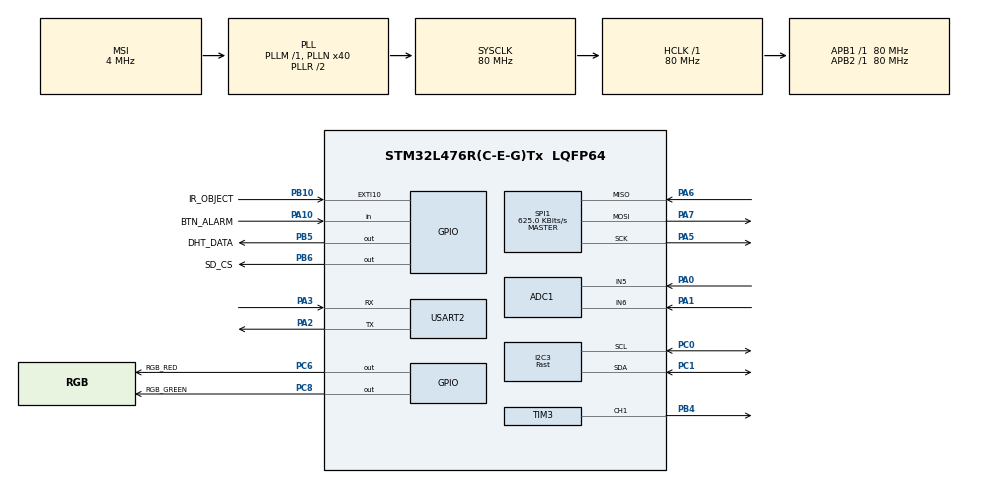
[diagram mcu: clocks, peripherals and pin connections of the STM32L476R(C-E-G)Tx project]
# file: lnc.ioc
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ADC1.Channel-0\#ChannelRegularConversion=ADC_CHANNEL_5
ADC1.NbrOfConversionFlag=1
ADC1.OffsetNumber-0\#ChannelRegularConversion=ADC_OFFSET_NONE
ADC1.Rank-0\#ChannelRegularConversion=1
ADC1.SamplingTime-0\#ChannelRegularConversion=ADC_SAMPLETIME_2CYCLES_5
ADC1.master=1
FATFS._FS_NORTC=1
FREERTOS.Tasks01=defaultTask,24,128,StartDefaultTask,Default,NULL,Dynamic,NULL,NULL
I2C3.CustomTiming=Enabled
I2C3.I2C_Speed_Mode=I2C_Fast
I2C3.Timing=0x00F12981
IWDG.Prescaler=IWDG_PRESCALER_32
IWDG.Window=1999
Mcu.Family=STM32L4
Mcu.Name=STM32L476R(C-E-G)Tx
Mcu.Package=LQFP64
NVIC.EXTI15_10_IRQn=true\:5\:0\:false\:false\:true\:true\:true\:true\:true
NVIC.PriorityGroup=NVIC_PRIORITYGROUP_4
NVIC.TIM6_DAC_IRQn=true\:15\:0\:false\:false\:true\:false\:false\:true\:true
NVIC.TimeBase=TIM6_DAC_IRQn
NVIC.TimeBaseIP=TIM6
PA0.Signal=ADCx_IN5
PA1.Signal=ADCx_IN6
PA10.GPIO_Label=BTN_ALARM
PA10.GPIO_PuPd=GPIO_PULLUP
PA10.Signal=GPIO_Input
PA2.Mode=Asynchronous
PA2.Signal=USART2_TX
PA3.Mode=Asynchronous
PA3.Signal=USART2_RX
PA5.Mode=Full_Duplex_Master
PA5.Signal=SPI1_SCK
PA6.GPIO_PuPd=GPIO_PULLUP
PA6.Mode=Full_Duplex_Master
PA6.Signal=SPI1_MISO
PA7.Mode=Full_Duplex_Master
PA7.Signal=SPI1_MOSI
PB10.GPIO_Label=IR_OBJECT
PB10.GPIO_ModeDefaultEXTI=GPIO_MODE_IT_FALLING
PB10.GPIO_PuPd=GPIO_PULLUP
PB10.Signal=GPXTI10
PB4\ (NJTRST).Signal=S_TIM3_CH1
PB5.GPIO_Label=DHT_DATA
PB5.Signal=GPIO_Output
PB6.GPIO_Label=SD_CS
PB6.PinState=GPIO_PIN_SET
PB6.Signal=GPIO_Output
PC0.Mode=I2C
PC0.Signal=I2C3_SCL
PC1.Mode=I2C
PC1.Signal=I2C3_SDA
PC14-OSC32_IN\ (PC14).Mode=LSE-External-Oscillator
PC14-OSC32_IN\ (PC14).Signal=RCC_OSC32_IN
PC15-OSC32_OUT\ (PC15).Mode=LSE-External-Oscillator
PC15-OSC32_OUT\ (PC15).Signal=RCC_OSC32_OUT
PC6.GPIO_Label=RGB_RED
PC6.Signal=GPIO_Output
PC8.GPIO_Label=RGB_GREEN
PC8.Signal=GPIO_Output
ProjectManager.HeapSize=0x200
ProjectManager.StackSize=0x400
ProjectManager.TargetToolchain=CMake
RCC.ADCFreq_Value=32000000
RCC.AHBFreq_Value=80000000
RCC.APB1Freq_Value=80000000
RCC.APB1TimFreq_Value=80000000
RCC.APB2Freq_Value=80000000
RCC.APB2TimFreq_Value=80000000
RCC.CortexFreq_Value=80000000
RCC.HCLKFreq_Value=80000000
RCC.HSE_VALUE=8000000
RCC.HSI_VALUE=16000000
RCC.MSI_VALUE=4000000
RCC.PLLN=40
RCC.PLLSAI1N=16
RCC.SYSCLKFreq_VALUE=80000000
RCC.SYSCLKSource=RCC_SYSCLKSOURCE_PLLCLK
RCC.USBFreq_Value=32000000
RCC.VCOOutputFreq_Value=160000000
SH.ADCx_IN5.0=ADC1_IN5,IN5-Single-Ended
SH.ADCx_IN6.0=ADC1_IN6,IN6-Single-Ended
SH.S_TIM3_CH1.0=TIM3_CH1,PWM Generation1 CH1
SPI1.BaudRatePrescaler=SPI_BAUDRATEPRESCALER_128
SPI1.CalculateBaudRate=625.0 KBits/s
SPI1.DataSize=SPI_DATASIZE_8BIT
SPI1.Direction=SPI_DIRECTION_2LINES
SPI1.Mode=SPI_MODE_MASTER
SPI1.VirtualType=VM_MASTER
TIM3.AutoReloadPreload=TIM_AUTORELOAD_PRELOAD_ENABLE
TIM3.Channel-PWM\ Generation1\ CH1=TIM_CHANNEL_1
TIM3.Period=39999
TIM3.Pulse-PWM\ Generation1\ CH1=20000
USART2.VirtualMode-Asynchronous=VM_ASYNC
VP_FATFS_VS_Generic.Mode=User_defined
VP_FREERTOS_VS_CMSIS_V2.Mode=CMSIS_V2
VP_IWDG_VS_IWDG.Mode=IWDG_Activate
VP_RTC_VS_RTC_Activate.Mode=RTC_Enabled
VP_RTC_VS_RTC_Calendar.Mode=RTC_Calendar
VP_SYS_VS_tim6.Mode=TIM6
VP_TIM3_VS_ClockSourceINT.Mode=Internal
board=custom

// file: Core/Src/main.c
/* USER CODE BEGIN Header */
/**
  ******************************************************************************
  * @file           : main.c
  * @brief          : Main program body
  ******************************************************************************
  * @attention
  *
  * Copyright (c) 2026 STMicroelectronics.
  * All rights reserved.
  *
  * This software is licensed under terms that can be found in the LICENSE file
  * in the root directory of this software component.
  * If no LICENSE file comes with this software, it is provided AS-IS.
  *
  ******************************************************************************
  */
/* USER CODE END Header */
#include "main.h"
#include "cmsis_os.h"
#include "adc.h"
#include "fatfs.h"
#include "i2c.h"
#include "iwdg.h"
#include "rtc.h"
#include "spi.h"
#include "tim.h"
#include "usart.h"
#include "gpio.h"

/* USER CODE BEGIN Includes */
#include "test_bench.h"
#include "rgb_led.h"
#include "buzzer.h"
#include "dht11.h"
#include "adc_sensors.h"
#include "ir_receiver.h"
#include "button.h"
#include "monitor.h"
#include "config.h"
#include "log.h"
#include <stdio.h>
/* USER CODE END Includes */

void SystemClock_Config(void);
void MX_FREERTOS_Init(void);

int main(void)
{

  /* MCU Configuration--------------------------------------------------------*/

  /* Reset of all peripherals, Initializes the Flash interface and the Systick. */
  HAL_Init();

  /* Configure the system clock */
  SystemClock_Config();

  /* Initialize all configured peripherals */
  MX_GPIO_Init();
  MX_USART2_UART_Init();
  MX_ADC1_Init();
  MX_TIM3_Init();
  MX_I2C3_Init();
  MX_RTC_Init();
  MX_SPI1_Init();
  MX_FATFS_Init();
  /* USER CODE BEGIN 2 */
  TestBench_Init();
  RgbLed_Init();
  Buzzer_Init();
  Dht11_Init();
  Adc_Init();
  Ir_Init();
  Button_Init();
  Config_Init();
/* USER CODE END 2 */
Config_Init();

/* Mount SD card */
{
    FRESULT fr;
    HAL_Delay(500U);
    fr = f_mount(&USERFatFS, USERPath, 1U);
    printf("[LOG] SD mount: fr=%d\r\n", (int)fr);
}
/* USER CODE END 2 */
  /* Init scheduler */
  osKernelInitialize();  /* Call init function for freertos objects (in cmsis_os2.c) */
  MX_FREERTOS_Init();
  /* Start scheduler */
  osKernelStart();

  /* We should never get here as control is now taken by the scheduler */

  /* Infinite loop */
  while (1)
  {

  }
}

void SystemClock_Config(void)
{
  RCC_OscInitTypeDef RCC_OscInitStruct = {0};
  RCC_ClkInitTypeDef RCC_ClkInitStruct = {0};

  /** Configure the main internal regulator output voltage
  */
  if (HAL_PWREx_ControlVoltageScaling(PWR_REGULATOR_VOLTAGE_SCALE1) != HAL_OK)
  {
    Error_Handler();
  }

  /** Configure LSE Drive Capability
  */
  HAL_PWR_EnableBkUpAccess();
  __HAL_RCC_LSEDRIVE_CONFIG(RCC_LSEDRIVE_LOW);

  /** Initializes the RCC Oscillators according to the specified parameters
  * in the RCC_OscInitTypeDef structure.
  */
  RCC_OscInitStruct.OscillatorType = RCC_OSCILLATORTYPE_LSI|RCC_OSCILLATORTYPE_LSE
                              |RCC_OSCILLATORTYPE_MSI;
  RCC_OscInitStruct.LSEState = RCC_LSE_ON;
  RCC_OscInitStruct.LSIState = RCC_LSI_ON;
  RCC_OscInitStruct.MSIState = RCC_MSI_ON;
  RCC_OscInitStruct.MSICalibrationValue = 0;
  RCC_OscInitStruct.MSIClockRange = RCC_MSIRANGE_6;
  RCC_OscInitStruct.PLL.PLLState = RCC_PLL_ON;
  RCC_OscInitStruct.PLL.PLLSource = RCC_PLLSOURCE_MSI;
  RCC_OscInitStruct.PLL.PLLM = 1;
  RCC_OscInitStruct.PLL.PLLN = 40;
  RCC_OscInitStruct.PLL.PLLP = RCC_PLLP_DIV7;
  RCC_OscInitStruct.PLL.PLLQ = RCC_PLLQ_DIV2;
  RCC_OscInitStruct.PLL.PLLR = RCC_PLLR_DIV2;
  if (HAL_RCC_OscConfig(&RCC_OscInitStruct) != HAL_OK)
  {
    Error_Handler();
  }

  /** Initializes the CPU, AHB and APB buses clocks
  */
  RCC_ClkInitStruct.ClockType = RCC_CLOCKTYPE_HCLK|RCC_CLOCKTYPE_SYSCLK
                              |RCC_CLOCKTYPE_PCLK1|RCC_CLOCKTYPE_PCLK2;
  RCC_ClkInitStruct.SYSCLKSource = RCC_SYSCLKSOURCE_PLLCLK;
  RCC_ClkInitStruct.AHBCLKDivider = RCC_SYSCLK_DIV1;
  RCC_ClkInitStruct.APB1CLKDivider = RCC_HCLK_DIV1;
  RCC_ClkInitStruct.APB2CLKDivider = RCC_HCLK_DIV1;

  if (HAL_RCC_ClockConfig(&RCC_ClkInitStruct, FLASH_LATENCY_4) != HAL_OK)
  {
    Error_Handler();
  }

  /** Enable MSI Auto calibration
  */
  HAL_RCCEx_EnableMSIPLLMode();
}

void HAL_TIM_PeriodElapsedCallback(TIM_HandleTypeDef *htim)
{
  if (htim->Instance == TIM6)
  {
    HAL_IncTick();
  }
}

void Error_Handler(void)
{
  __disable_irq();
  while (1)
  {
  }
}

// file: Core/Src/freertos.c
/* USER CODE BEGIN Header */
/**
  ******************************************************************************
  * File Name          : freertos.c
  * Description        : Code for freertos applications
  ******************************************************************************
  * @attention
  *
  * Copyright (c) 2026 STMicroelectronics.
  * All rights reserved.
  *
  * This software is licensed under terms that can be found in the LICENSE file
  * in the root directory of this software component.
  * If no LICENSE file comes with this software, it is provided AS-IS.
  *
  ******************************************************************************
  */
/* USER CODE END Header */

#include "FreeRTOS.h"
#include "task.h"
#include "main.h"
#include "cmsis_os.h"

/* USER CODE BEGIN Includes */
#include "monitor.h"
#include "events.h"
#include "keep_alive.h"
#include "watchdog.h"
#include "comm.h"
#include "log.h"
#include "fatfs.h"
#include "init.h"
#include <stdio.h>
/* USER CODE END Includes */

/* USER CODE BEGIN Variables */
osThreadId_t monitorTaskHandle;
osThreadId_t eventTaskHandle;
osThreadId_t keepAliveTaskHandle;
osThreadId_t watchdogTaskHandle;
osThreadId_t commTaskHandle;
osThreadId_t logTaskHandle;
osThreadId_t initTaskHandle;

const osThreadAttr_t monitorTask_attributes = {
    .name       = "monitorTask",
    .stack_size = 512 * 4,
    .priority   = (osPriority_t)osPriorityNormal
};

const osThreadAttr_t eventTask_attributes = {
    .name       = "eventTask",
    .stack_size = 512 * 4,
    .priority   = (osPriority_t)osPriorityNormal
};

const osThreadAttr_t keepAliveTask_attributes = {
    .name       = "keepAliveTask",
    .stack_size = 256 * 4,
    .priority   = (osPriority_t)osPriorityNormal
};

const osThreadAttr_t watchdogTask_attributes = {
    .name       = "watchdogTask",
    .stack_size = 256 * 4,
    .priority   = (osPriority_t)osPriorityNormal
};
const osThreadAttr_t commTask_attributes = {
    .name       = "commTask",
    .stack_size = 512 * 4,
    .priority   = (osPriority_t)osPriorityAboveNormal
};
const osThreadAttr_t logTask_attributes = {
    .name       = "logTask",
    .stack_size = 1024 * 4,
    .priority   = (osPriority_t)osPriorityNormal
};
const osThreadAttr_t initTask_attributes = {
    .name       = "initTask",
    .stack_size = 256 * 4,
    .priority   = (osPriority_t)osPriorityAboveNormal
};
/* USER CODE END Variables */
/* Definitions for defaultTask */
osThreadId_t defaultTaskHandle;
const osThreadAttr_t defaultTask_attributes = {
  .name = "defaultTask",
  .stack_size = 128 * 4,
  .priority = (osPriority_t) osPriorityNormal,
};

void StartDefaultTask(void *argument);

void MX_FREERTOS_Init(void); /* (MISRA C 2004 rule 8.1) */

void MX_FREERTOS_Init(void) {
  /* USER CODE BEGIN Init */
    Log_Init();
    Event_Init();
    Init_Init();
    KeepAlive_Init();
    Monitor_Init();
    Comm_Init();

  /* USER CODE END Init */

  /* Create the thread(s) */
  /* creation of defaultTask */
  defaultTaskHandle = osThreadNew(StartDefaultTask, NULL, &defaultTask_attributes);

  /* USER CODE BEGIN RTOS_THREADS */
    monitorTaskHandle   = osThreadNew(Monitor_Task,   NULL, &monitorTask_attributes);
    eventTaskHandle     = osThreadNew(Event_Task,     NULL, &eventTask_attributes);
    keepAliveTaskHandle = osThreadNew(KeepAlive_Task, NULL, &keepAliveTask_attributes);
    watchdogTaskHandle  = osThreadNew(Watchdog_Task,  NULL, &watchdogTask_attributes);
    commTaskHandle      = osThreadNew(Comm_Task,      NULL, &commTask_attributes);
    logTaskHandle       = osThreadNew(Log_Task,       NULL, &logTask_attributes);
    initTaskHandle      = osThreadNew(Init_Task,      NULL, &initTask_attributes);
  /* USER CODE END RTOS_THREADS */

}

void StartDefaultTask(void *argument)
{
  for(;;)
  {
    osDelay(1);
  }
}
